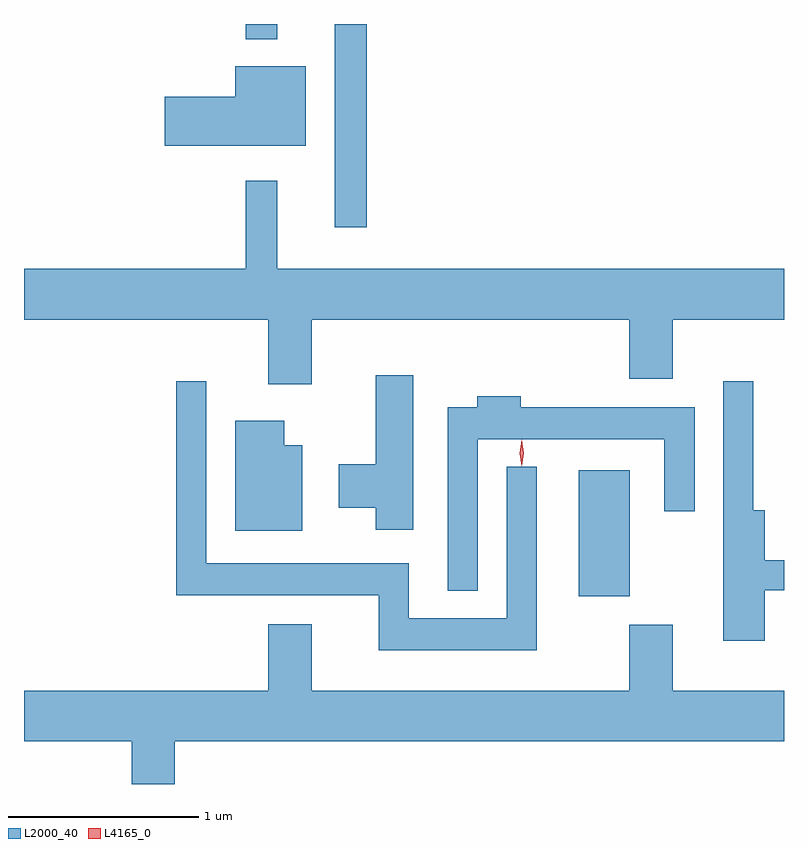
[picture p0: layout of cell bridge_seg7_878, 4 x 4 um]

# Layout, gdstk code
import gdstk
lib = gdstk.Library(unit=1e-6, precision=1e-09)
def R(c, l, rs):  # rectangles x0, y0, x1, y1
    for r in rs: c.add(gdstk.rectangle(r[:2], r[2:], *l))
def P(c, l, *ps):  # polygons
    for p in ps: c.add(gdstk.Polygon(p, *l))
L2000_40 = (2000, 40)
L4165_0 = (4165, 0)

bridge_seg7_878 = lib.new_cell('bridge_seg7_878')
R(bridge_seg7_878, L2000_40, [(482.766,1684.001,483.034,1684.664), (481.481,1685.943,481.649,1687.012), (481.011,1686.933,481.179,1687.012)])
P(bridge_seg7_878, L2000_40, [(481.329,1686.789),(480.956,1686.789),(480.956,1686.629),(480.586,1686.629),(480.586,1686.371),(481.329,1686.371)],
  [(481.359,1685.456),(483.031,1685.456),(483.031,1685.146),(483.259,1685.146),(483.259,1685.456),(483.845,1685.456),(483.845,1685.724),(481.179,1685.724),(481.179,1686.188),(481.011,1686.188),(481.011,1685.724),(479.845,1685.724),(479.845,1685.456),(481.131,1685.456),(481.131,1685.116),(481.359,1685.116)],
  [(481.894,1685.164),(481.696,1685.164),(481.696,1684.694),(481.501,1684.694),(481.501,1684.466),(481.696,1684.466),(481.696,1684.351),(481.894,1684.351)],
  [(483.744,1684.031),(483.845,1684.031),(483.845,1684.189),(483.744,1684.189),(483.744,1684.454),(483.684,1684.454),(483.684,1685.133),(483.526,1685.133),(483.526,1683.766),(483.744,1683.766)],
  [(482.544,1684.683),(482.386,1684.683),(482.386,1683.884),(481.869,1683.884),(481.869,1684.174),(480.804,1684.174),(480.804,1685.133),(480.646,1685.133),(480.646,1684.006),(481.711,1684.006),(481.711,1683.716),(482.544,1683.716)],
  [(482.234,1684.826),(483.216,1684.826),(483.216,1684.448),(483.374,1684.448),(483.374,1684.994),(482.459,1684.994),(482.459,1685.054),(482.231,1685.054),(482.231,1684.994),(482.076,1684.994),(482.076,1684.028),(482.234,1684.028)],
  [(481.309,1684.794),(481.214,1684.794),(481.214,1684.924),(480.956,1684.924),(480.956,1684.346),(481.309,1684.346)],
  [(480.639,1683.236),(483.845,1683.236),(483.845,1683.504),(483.259,1683.504),(483.259,1683.849),(483.031,1683.849),(483.031,1683.504),(481.359,1683.504),(481.359,1683.854),(481.131,1683.854),(481.131,1683.504),(479.845,1683.504),(479.845,1683.236),(480.411,1683.236),(480.411,1683.012),(480.639,1683.012)])
P(bridge_seg7_878, L4165_0, [(482.464,1684.684),(482.455,1684.753),(482.464,1684.823),(482.465,1684.823),(482.465,1684.823),(482.475,1684.753),(482.465,1684.684),(482.465,1684.684)])

lib.write_gds('bridge_seg7_878.gds')
